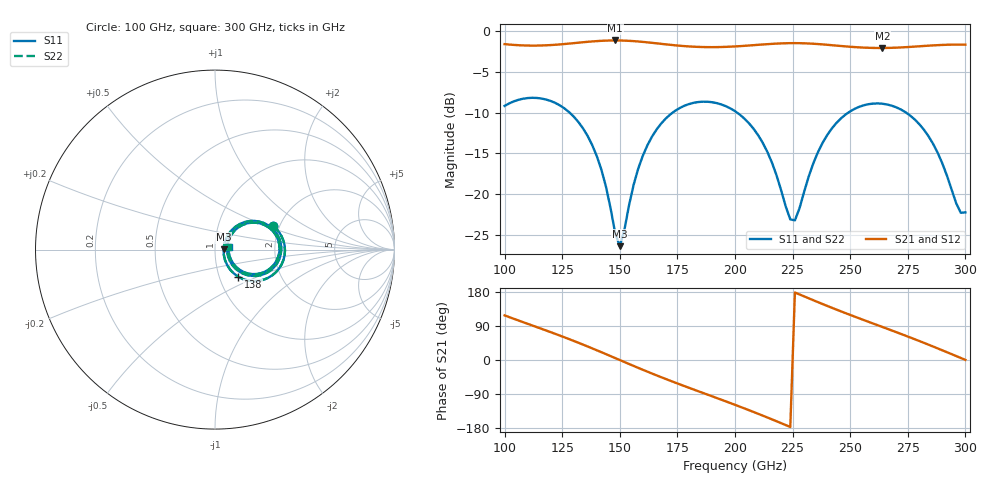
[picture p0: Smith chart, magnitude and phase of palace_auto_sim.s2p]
#  GHZ S DB R 50
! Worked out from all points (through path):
!   101 points, 100 GHz to 300 GHz, reference 50 ohm
!   highest |S21| = -1.13 dB at 148 GHz (marker M1); lowest = -2.1 dB at 264 GHz (marker M2)
!   group delay of S21, straight-line fit = 6.65 ps
!   lowest |S11| = -26.4 dB at 150 GHz (marker M3), VSWR 1.10, Z = 55 + j0.0969 ohm
!   |S11| at or under -10 dB: 128.2 GHz to 173 GHz (44.75 GHz wide, 29.7 % of centre); 200.9 GHz to 249.2 GHz (48.33 GHz wide, 21.5 % of centre); 274.2 GHz to end of sweep
!   |S22| runs from -26.5 to -8.2 dB; largest |S21 - S12| = 9.7e-14
!   S11 on the Smith chart (normalised r, x): 100 GHz: 1.83, +0.56; 138 GHz: 1.23, -0.39; 300 GHz: 1.16, +0.04
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100  -9.18 22.7  -1.58 117.7  -1.58 117.7  -9.17 22.4
118  -8.39 -12.3  -1.73 77.9  -1.73 77.9  -8.40 -12.5
134  -11.92 -42.9  -1.35 40.7  -1.35 40.7  -11.93 -43.1
138  -13.98 -49.3  -1.25 30.8  -1.25 30.8  -13.98 -49.5
144  -19.12 -51.8  -1.15 15.5  -1.15 15.5  -19.13 -52.1
148  -24.82 -30.9  -1.13 5.1  -1.13 5.1  -24.85 -31.1
150  -26.42 1.1  -1.13 -0.1  -1.13 -0.1  -26.46 1.0
158  -16.88 49.5  -1.26 -20.7  -1.26 -20.7  -16.89 49.4
168  -11.33 36.1  -1.55 -45.4  -1.55 -45.4  -11.33 36.0
184  -8.70 6.3  -1.92 -82.2  -1.92 -82.2  -8.71 6.2
200  -9.82 -22.6  -1.86 -118.3  -1.86 -118.3  -9.83 -22.8
214  -14.80 -42.1  -1.59 -151.6  -1.59 -151.6  -14.83 -42.3
224  -23.13 -11.7  -1.46 -176.8  -1.46 -176.8  -23.15 -11.5
226  -23.25 10.5  -1.46 178.1  -1.46 178.1  -23.25 10.7
234  -16.23 44.2  -1.53 157.7  -1.53 157.7  -16.22 44.1
240  -12.77 39.5  -1.66 142.8  -1.66 142.8  -12.76 39.3
248  -10.24 26.6  -1.86 123.6  -1.86 123.6  -10.23 26.4
264  -8.91 -2.6  -2.05 87.1  -2.05 87.1  -8.91 -2.9
268  -9.15 -9.9  -2.03 78.0  -2.03 78.0  -9.15 -10.2
284  -12.91 -35.9  -1.77 40.4  -1.77 40.4  -12.92 -36.3
298  -22.31 -7.3  -1.64 5.3  -1.64 5.3  -22.41 -7.6
300  -22.26 11.3  -1.65 0.3  -1.65 0.3  -22.35 11.3
